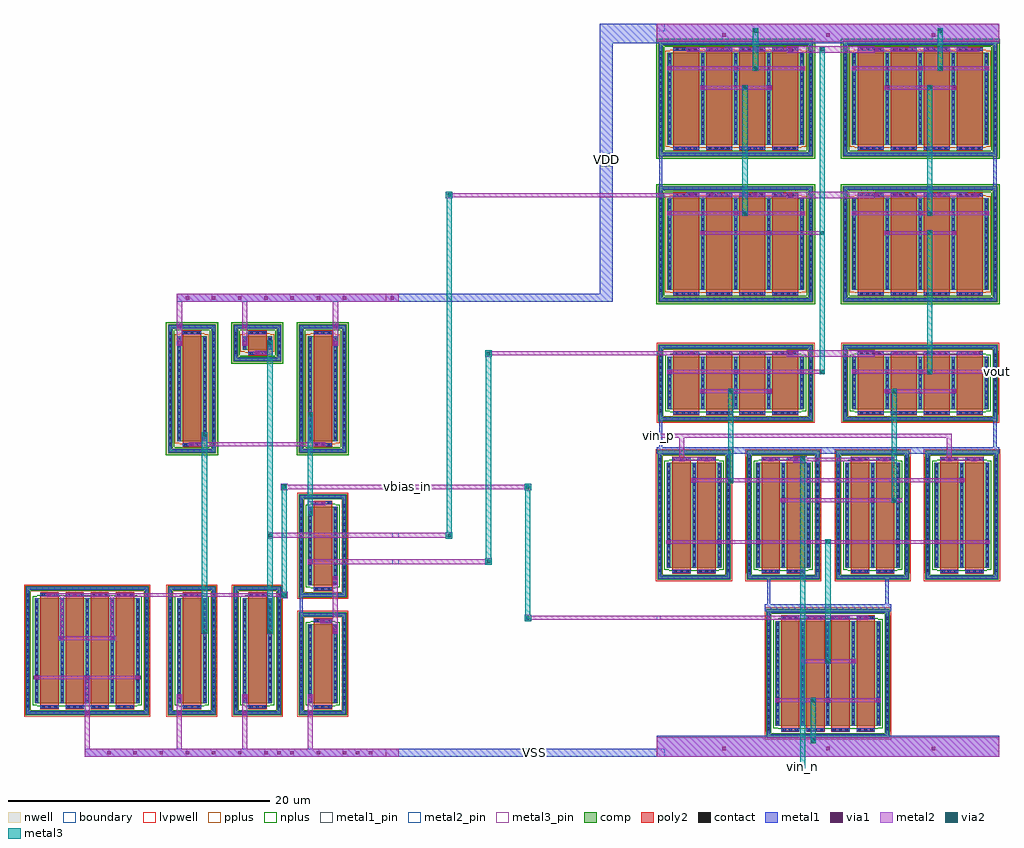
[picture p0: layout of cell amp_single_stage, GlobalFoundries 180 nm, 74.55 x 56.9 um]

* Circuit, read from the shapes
.subckt amp_single_stage VDD VSS vbias_in vin_n vin_p vout
XM1 vbias_in vbias_in VSS VSS nfet_03v3 w=8u l=1.4u m=4
XM2 n1 vbias_in VSS VSS nfet_03v3 w=8u l=1.4u
XM3 amp_bias_1/vbias_1 vbias_in VSS VSS nfet_03v3 w=8u l=1.4u
XM4 n2 n2 VSS VSS nfet_03v3 w=6u l=1.4u
XM5 n2 amp_bias_1/vbias_2 amp_bias_1/vbias_2 VSS nfet_03v3 w=6u l=1.4u
XM6 n3 vin_p n4 VSS nfet_03v3 w=8u l=1.4u m=4
XM7 n3 amp_bias_1/vbias_2 n5 VSS nfet_03v3 w=4u l=2u m=4
XM8 n6 vin_n n4 VSS nfet_03v3 w=8u l=1.4u m=4
XM9 n4 vbias_in VSS VSS nfet_03v3 w=8u l=1.4u m=4
XM10 n6 amp_bias_1/vbias_2 vout VSS nfet_03v3 w=4u l=2u m=4
XM11 n1 n1 VDD VDD pfet_03v3 w=8u l=1.4u
XM12 amp_bias_1/vbias_1 amp_bias_1/vbias_1 VDD VDD pfet_03v3 w=1u l=1.4u
XM13 VDD n1 amp_bias_1/vbias_2 VDD pfet_03v3 w=8u l=1.4u
XM14 n5 amp_bias_1/vbias_1 n7 VDD pfet_03v3 w=7u l=2u m=4
XM15 n7 n5 VDD VDD pfet_03v3 w=7u l=2u m=4
XM16 vout amp_bias_1/vbias_1 n8 VDD pfet_03v3 w=7u l=2u m=4
XM17 n8 n5 VDD VDD pfet_03v3 w=7u l=2u m=4
.ends

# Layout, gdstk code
import gdstk
lib = gdstk.Library(unit=1e-6, precision=1e-09)
def R(c, l, rs):  # rectangles x0, y0, x1, y1
    for r in rs: c.add(gdstk.rectangle(r[:2], r[2:], *l))
def A(c, l, x, y, w, h, nx, ny, dx, dy):  # array of equal rectangles
    R(c, l, [(x+i*dx, y+j*dy, x+i*dx+w, y+j*dy+h) for i in range(nx) for j in range(ny)])
boundary = (0, 0)
nwell = (21, 0)
comp = (22, 0)
poly2 = (30, 0)
pplus = (31, 0)
nplus = (32, 0)
contact = (33, 0)
metal1 = (34, 0)
metal1_pin = (34, 10)
via1 = (35, 0)
metal2 = (36, 0)
metal2_pin = (36, 10)
via2 = (38, 0)
metal3 = (42, 0)
metal3_pin = (42, 10)
lvpwell = (204, 0)

nfet_03v3_ssv5gb = lib.new_cell('nfet_03v3_SSV5GB')
R(nfet_03v3_ssv5gb, boundary, [(-2.61,-4.75,2.61,4.75)])
R(nfet_03v3_ssv5gb, comp, [(-2.79,-4.93,2.79,-4.57), (-2.79,-4.57,-2.43,4.57), (2.43,-4.57,2.79,4.57), (-2.1,-4,2.1,4), (-2.79,4.57,2.79,4.93)])
R(nfet_03v3_ssv5gb, poly2, [(-1.66,-4.46,-0.26,4.46), (0.26,-4.46,1.66,4.46)])
R(nfet_03v3_ssv5gb, pplus, [(-2.81,-4.95,2.81,-4.55), (-2.81,-4.55,-2.4,-4.445), (2.4,-4.55,2.81,-4.445), (-2.82,-4.445,-2.4,4.445), (2.4,-4.445,2.82,4.445), (-2.81,4.445,-2.4,4.55), (2.4,4.445,2.81,4.55), (-2.81,4.55,2.81,4.95)])
R(nfet_03v3_ssv5gb, nplus, [(-1.89,-4.23,1.89,-4.16), (-2.26,-4.16,2.26,4.16), (-1.89,4.16,1.89,4.23)])
A(nfet_03v3_ssv5gb, contact, -1.54, -4.39, 0.22, 0.22, 3, 2, 0.47, 8.56)
A(nfet_03v3_ssv5gb, contact, 0.38, -4.39, 0.22, 0.22, 3, 2, 0.47, 8.56)
A(nfet_03v3_ssv5gb, contact, -2.72, -4.34, 0.22, 0.22, 1, 19, 0, 0.47)
A(nfet_03v3_ssv5gb, contact, 2.5, -4.34, 0.22, 0.22, 1, 19, 0, 0.47)
A(nfet_03v3_ssv5gb, contact, -2.03, -3.87, 0.22, 0.22, 3, 17, 1.92, 0.47)
A(nfet_03v3_ssv5gb, metal1, -2.035, -3.99, 0.23, 7.98, 3, 1, 1.92, 0)
R(nfet_03v3_ssv5gb, metal1, [(-2.725,-4.865,2.725,-4.635), (-2.725,-4.635,-2.495,4.635), (2.495,-4.635,2.725,4.635), (-1.65,-4.395,-0.27,-4.165), (0.27,-4.395,1.65,-4.165), (-1.65,4.165,-0.27,4.395), (0.27,4.165,1.65,4.395), (-2.725,4.635,2.725,4.865)])
R(nfet_03v3_ssv5gb, lvpwell, [(-2.91,-5.05,2.91,5.05)])

nfet_03v3_8eaytp = lib.new_cell('nfet_03v3_8EAYTP')
R(nfet_03v3_8eaytp, boundary, [(-4.53,-4.75,4.53,4.75)])
R(nfet_03v3_8eaytp, comp, [(-4.71,-4.93,4.71,-4.57), (-4.71,-4.57,-4.35,4.57), (4.35,-4.57,4.71,4.57), (-4.02,-4,4.02,4), (-4.71,4.57,4.71,4.93)])
A(nfet_03v3_8eaytp, poly2, -3.58, -4.46, 1.4, 8.92, 4, 1, 1.92, 0)
R(nfet_03v3_8eaytp, pplus, [(-4.73,-4.95,4.73,-4.55), (-4.73,-4.55,-4.32,-4.445), (4.32,-4.55,4.73,-4.445), (-4.74,-4.445,-4.32,4.445), (4.32,-4.445,4.74,4.445), (-4.73,4.445,-4.32,4.55), (4.32,4.445,4.73,4.55), (-4.73,4.55,4.73,4.95)])
R(nfet_03v3_8eaytp, nplus, [(-3.81,-4.23,3.81,-4.16), (-4.18,-4.16,4.18,4.16), (-3.81,4.16,3.81,4.23)])
A(nfet_03v3_8eaytp, contact, -3.46, -4.39, 0.22, 0.22, 3, 2, 0.47, 8.56)
A(nfet_03v3_8eaytp, contact, -1.54, -4.39, 0.22, 0.22, 3, 2, 0.47, 8.56)
A(nfet_03v3_8eaytp, contact, 0.38, -4.39, 0.22, 0.22, 3, 2, 0.47, 8.56)
A(nfet_03v3_8eaytp, contact, 2.3, -4.39, 0.22, 0.22, 3, 2, 0.47, 8.56)
A(nfet_03v3_8eaytp, contact, -4.64, -4.34, 0.22, 0.22, 1, 19, 0, 0.47)
A(nfet_03v3_8eaytp, contact, 4.42, -4.34, 0.22, 0.22, 1, 19, 0, 0.47)
A(nfet_03v3_8eaytp, contact, -3.95, -3.87, 0.22, 0.22, 5, 17, 1.92, 0.47)
A(nfet_03v3_8eaytp, metal1, -3.57, -4.395, 1.38, 0.23, 4, 2, 1.92, 8.56)
A(nfet_03v3_8eaytp, metal1, -3.955, -3.99, 0.23, 7.98, 5, 1, 1.92, 0)
R(nfet_03v3_8eaytp, metal1, [(-4.645,-4.865,4.645,-4.635), (-4.645,-4.635,-4.415,4.635), (4.415,-4.635,4.645,4.635), (-4.645,4.635,4.645,4.865)])
R(nfet_03v3_8eaytp, lvpwell, [(-4.83,-5.05,4.83,5.05)])

pfet_03v3_w5sfvu = lib.new_cell('pfet_03v3_W5SFVU')
R(pfet_03v3_w5sfvu, boundary, [(-5.73,-4.25,5.73,4.25)])
R(pfet_03v3_w5sfvu, nwell, [(-6.03,-4.55,6.03,4.55)])
R(pfet_03v3_w5sfvu, comp, [(-5.91,-4.43,5.91,-4.07), (-5.91,-4.07,-5.55,4.07), (5.55,-4.07,5.91,4.07), (-5.22,-3.5,5.22,3.5), (-5.91,4.07,5.91,4.43)])
A(pfet_03v3_w5sfvu, poly2, -4.78, -3.96, 2, 7.92, 4, 1, 2.52, 0)
R(pfet_03v3_w5sfvu, pplus, [(-5.01,-3.73,5.01,-3.66), (-5.38,-3.66,5.38,3.66), (-5.01,3.66,5.01,3.73)])
R(pfet_03v3_w5sfvu, nplus, [(-6.07,-4.59,6.07,-3.96), (-6.07,-3.96,-5.44,3.96), (5.44,-3.96,6.07,3.96), (-6.07,3.96,6.07,4.59)])
A(pfet_03v3_w5sfvu, contact, -4.595, -3.89, 0.22, 0.22, 4, 2, 0.47, 7.56)
A(pfet_03v3_w5sfvu, contact, -2.075, -3.89, 0.22, 0.22, 4, 2, 0.47, 7.56)
A(pfet_03v3_w5sfvu, contact, 0.445, -3.89, 0.22, 0.22, 4, 2, 0.47, 7.56)
A(pfet_03v3_w5sfvu, contact, 2.965, -3.89, 0.22, 0.22, 4, 2, 0.47, 7.56)
A(pfet_03v3_w5sfvu, contact, -5.84, -3.635, 0.22, 0.22, 1, 16, 0, 0.47)
A(pfet_03v3_w5sfvu, contact, 5.62, -3.635, 0.22, 0.22, 1, 16, 0, 0.47)
A(pfet_03v3_w5sfvu, contact, -5.15, -3.4, 0.22, 0.22, 5, 15, 2.52, 0.47)
A(pfet_03v3_w5sfvu, metal1, -4.77, -3.895, 1.98, 0.23, 4, 2, 2.52, 7.56)
A(pfet_03v3_w5sfvu, metal1, -5.155, -3.49, 0.23, 6.98, 5, 1, 2.52, 0)
R(pfet_03v3_w5sfvu, metal1, [(-5.845,-4.365,5.845,-4.135), (-5.845,-4.135,-5.615,4.135), (5.615,-4.135,5.845,4.135), (-5.845,4.135,5.845,4.365)])

nfet_03v3_d3xtxl = lib.new_cell('nfet_03v3_D3XTXL')
R(nfet_03v3_d3xtxl, boundary, [(-5.73,-2.75,5.73,2.75)])
R(nfet_03v3_d3xtxl, comp, [(-5.91,-2.93,5.91,-2.57), (-5.91,-2.57,-5.55,2.57), (5.55,-2.57,5.91,2.57), (-5.22,-2,5.22,2), (-5.91,2.57,5.91,2.93)])
A(nfet_03v3_d3xtxl, poly2, -4.78, -2.46, 2, 4.92, 4, 1, 2.52, 0)
R(nfet_03v3_d3xtxl, pplus, [(-5.93,-2.95,5.93,-2.55), (-5.93,-2.55,-5.52,-2.445), (5.52,-2.55,5.93,-2.445), (-5.94,-2.445,-5.52,2.445), (5.52,-2.445,5.94,2.445), (-5.93,2.445,-5.52,2.55), (5.52,2.445,5.93,2.55), (-5.93,2.55,5.93,2.95)])
R(nfet_03v3_d3xtxl, nplus, [(-5.01,-2.23,5.01,-2.16), (-5.38,-2.16,5.38,2.16), (-5.01,2.16,5.01,2.23)])
A(nfet_03v3_d3xtxl, contact, -4.595, -2.39, 0.22, 0.22, 4, 2, 0.47, 4.56)
A(nfet_03v3_d3xtxl, contact, -2.075, -2.39, 0.22, 0.22, 4, 2, 0.47, 4.56)
A(nfet_03v3_d3xtxl, contact, 0.445, -2.39, 0.22, 0.22, 4, 2, 0.47, 4.56)
A(nfet_03v3_d3xtxl, contact, 2.965, -2.39, 0.22, 0.22, 4, 2, 0.47, 4.56)
A(nfet_03v3_d3xtxl, contact, -5.84, -2.225, 0.22, 0.22, 1, 10, 0, 0.47)
A(nfet_03v3_d3xtxl, contact, 5.62, -2.225, 0.22, 0.22, 1, 10, 0, 0.47)
A(nfet_03v3_d3xtxl, contact, -5.15, -1.755, 0.22, 0.22, 5, 8, 2.52, 0.47)
A(nfet_03v3_d3xtxl, metal1, -4.77, -2.395, 1.98, 0.23, 4, 2, 2.52, 4.56)
A(nfet_03v3_d3xtxl, metal1, -5.155, -1.99, 0.23, 3.98, 5, 1, 2.52, 0)
R(nfet_03v3_d3xtxl, metal1, [(-5.845,-2.865,5.845,-2.635), (-5.845,-2.635,-5.615,2.635), (5.615,-2.635,5.845,2.635), (-5.845,2.635,5.845,2.865)])
R(nfet_03v3_d3xtxl, lvpwell, [(-6.03,-3.05,6.03,3.05)])

amp_stg_1 = lib.new_cell('amp_stg_1')
A(amp_stg_1, metal1, 58.93, -76.99, 0.32, 0.38, 3, 1, 3.84, 0)
A(amp_stg_1, metal1, 59.86, -70.65, 0.38, 0.29, 4, 1, 1.92, 0)
A(amp_stg_1, metal1, 50.68, -51.89, 0.32, 0.38, 3, 2, 5.06, 12.1)
A(amp_stg_1, metal1, 64.78, -51.89, 0.32, 0.38, 3, 2, 5.06, 12.1)
A(amp_stg_1, metal1, 64.825, -34.34, 0.23, 0.055, 5, 2, 2.52, 6.925)
A(amp_stg_1, metal1, 50.68, -28.69, 0.32, 0.38, 3, 1, 5.06, 0)
A(amp_stg_1, metal1, 64.78, -28.69, 0.32, 0.38, 3, 1, 5.06, 0)
R(amp_stg_1, metal1, [(49.85,-81.1,76.01,-79.5), (60.85,-73.99,61.17,-73.61), (64.69,-73.99,65.01,-73.61), (58.1,-69.98,67.76,-69.45), (58.29,-69.45,58.54,-67.3), (67.32,-69.45,67.57,-67.3), (50.61,-64.89,50.93,-64.51), (54.48,-64.89,54.8,-64.51), (57.43,-64.89,57.75,-64.51), (61.3,-64.89,61.62,-64.51), (64.25,-64.89,64.57,-64.51), (68.12,-64.89,68.44,-64.51), (71.07,-64.89,71.39,-64.51), (74.94,-64.89,75.26,-64.51), (59.36,-61.69,59.68,-61.31), (66.18,-61.69,66.5,-61.31), (52.54,-60.19,52.86,-59.81), (73,-60.19,73.32,-59.81), (51.56,-58.55,51.94,-58.26), (53.47,-58.55,53.85,-58.26), (58.38,-58.55,58.76,-58.26), (60.29,-58.55,60.67,-58.26), (65.2,-58.55,65.58,-58.26), (67.11,-58.55,67.49,-58.26), (72.02,-58.55,72.4,-58.26), (73.93,-58.55,74.31,-58.26), (49.85,-57.98,76.01,-57.45), (50.04,-57.45,50.29,-55.2), (75.57,-57.45,75.82,-55.2), (53.21,-53.39,53.53,-53.01), (58.27,-53.39,58.59,-53.01), (67.31,-53.39,67.63,-53.01), (72.37,-53.39,72.69,-53.01), (52.355,-50.45,52.735,-50.44), (53.84,-50.45,54.22,-50.16), (57.18,-50.45,57.56,-50.16), (59.88,-50.45,60.26,-50.16), (66.455,-50.45,66.835,-50.44), (67.94,-50.45,68.32,-50.16), (71.28,-50.45,71.66,-50.16), (73.98,-50.45,74.36,-50.16), (52.34,-50.44,52.735,-50.16), (66.44,-50.44,66.835,-50.16), (52.34,-50.16,52.72,-50.15), (66.44,-50.16,66.82,-50.15), (53.21,-41.29,53.53,-40.91), (58.27,-41.29,58.59,-40.91), (67.31,-41.29,67.63,-40.91), (72.37,-41.29,72.69,-40.91), (52.355,-38.35,52.735,-38.34), (53.84,-38.35,54.22,-38.06), (57.18,-38.35,57.56,-38.06), (59.88,-38.35,60.26,-38.06), (66.455,-38.35,66.835,-38.34), (67.94,-38.35,68.32,-38.06), (71.28,-38.35,71.66,-38.06), (73.98,-38.35,74.36,-38.06), (52.34,-38.34,52.735,-38.06), (66.44,-38.34,66.835,-38.06), (52.34,-38.06,52.72,-38.05), (66.44,-38.06,66.82,-38.05), (50.04,-37.8,50.29,-35), (75.57,-37.8,75.82,-35.215), (64.135,-35.215,75.825,-34.985), (64.135,-34.985,64.365,-34.7), (75.595,-34.985,75.825,-34.7), (65.21,-34.745,65.265,-34.515), (67.135,-34.745,67.19,-34.515), (67.73,-34.745,67.785,-34.515), (69.655,-34.745,69.71,-34.515), (70.25,-34.745,70.305,-34.515), (72.175,-34.745,72.23,-34.515), (72.77,-34.745,72.825,-34.515), (74.695,-34.745,74.75,-34.515), (53.21,-30.19,53.53,-29.81), (58.27,-30.19,58.59,-29.81), (67.31,-30.19,67.63,-29.81), (72.37,-30.19,72.69,-29.81), (52.355,-27.25,52.735,-27.24), (53.84,-27.25,54.22,-26.96), (57.18,-27.25,57.56,-26.96), (59.88,-27.25,60.26,-26.96), (66.455,-27.25,66.835,-27.24), (67.94,-27.25,68.32,-26.96), (71.28,-27.25,71.66,-26.96), (73.98,-27.25,74.36,-26.96), (52.34,-27.24,52.735,-26.96), (66.44,-27.24,66.835,-26.96), (65.21,-27.185,65.265,-26.955), (67.135,-27.185,67.19,-26.955), (67.73,-27.185,67.785,-26.955), (69.655,-27.185,69.71,-26.955), (70.25,-27.185,70.305,-26.955), (72.175,-27.185,72.23,-26.955), (72.77,-27.185,72.825,-26.955), (74.695,-27.185,74.75,-26.955), (64.135,-27,64.365,-26.715), (75.595,-27,75.825,-26.715), (52.34,-26.96,52.72,-26.95), (66.44,-26.96,66.82,-26.95), (64.135,-26.715,75.825,-26.6), (49.85,-26.6,76.01,-25.1)])
A(amp_stg_1, via1, 58.96, -76.93, 0.26, 0.26, 3, 1, 3.84, 0)
A(amp_stg_1, via1, 59.92, -70.62, 0.26, 0.26, 4, 1, 1.92, 0)
A(amp_stg_1, via1, 50.71, -51.83, 0.26, 0.26, 3, 2, 5.06, 12.1)
A(amp_stg_1, via1, 64.81, -51.83, 0.26, 0.26, 3, 2, 5.06, 12.1)
A(amp_stg_1, via1, 50.71, -28.63, 0.26, 0.26, 3, 1, 5.06, 0)
A(amp_stg_1, via1, 64.81, -28.63, 0.26, 0.26, 3, 1, 5.06, 0)
R(amp_stg_1, via1, [(54.87,-80.6,55.13,-80.34), (62.8,-80.6,63.06,-80.34), (70.87,-80.6,71.13,-80.34), (60.88,-73.93,61.14,-73.67), (64.72,-73.93,64.98,-73.67), (50.64,-64.83,50.9,-64.57), (54.51,-64.83,54.77,-64.57), (57.46,-64.83,57.72,-64.57), (61.33,-64.83,61.59,-64.57), (64.28,-64.83,64.54,-64.57), (68.15,-64.83,68.41,-64.57), (71.1,-64.83,71.36,-64.57), (74.97,-64.83,75.23,-64.57), (59.39,-61.63,59.65,-61.37), (66.21,-61.63,66.47,-61.37), (52.57,-60.13,52.83,-59.87), (73.03,-60.13,73.29,-59.87), (51.62,-58.52,51.88,-58.26), (53.53,-58.52,53.79,-58.26), (58.44,-58.52,58.7,-58.26), (60.35,-58.52,60.61,-58.26), (65.26,-58.52,65.52,-58.26), (67.17,-58.52,67.43,-58.26), (72.08,-58.52,72.34,-58.26), (73.99,-58.52,74.25,-58.26), (53.24,-53.33,53.5,-53.07), (58.3,-53.33,58.56,-53.07), (67.34,-53.33,67.6,-53.07), (72.4,-53.33,72.66,-53.07), (52.415,-50.42,52.675,-50.16), (53.9,-50.42,54.16,-50.16), (57.24,-50.42,57.5,-50.16), (59.94,-50.42,60.2,-50.16), (66.515,-50.42,66.775,-50.16), (68,-50.42,68.26,-50.16), (71.34,-50.42,71.6,-50.16), (74.04,-50.42,74.3,-50.16), (53.24,-41.23,53.5,-40.97), (58.3,-41.23,58.56,-40.97), (67.34,-41.23,67.6,-40.97), (72.4,-41.23,72.66,-40.97), (52.415,-38.32,52.675,-38.06), (53.9,-38.32,54.16,-38.06), (57.24,-38.32,57.5,-38.06), (59.94,-38.32,60.2,-38.06), (66.515,-38.32,66.775,-38.06), (68,-38.32,68.26,-38.06), (71.34,-38.32,71.6,-38.06), (74.04,-38.32,74.3,-38.06), (53.24,-30.13,53.5,-29.87), (58.3,-30.13,58.56,-29.87), (67.34,-30.13,67.6,-29.87), (72.4,-30.13,72.66,-29.87), (52.415,-27.22,52.675,-26.96), (53.9,-27.22,54.16,-26.96), (57.24,-27.22,57.5,-26.96), (59.94,-27.22,60.2,-26.96), (66.515,-27.22,66.775,-26.96), (68,-27.22,68.26,-26.96), (71.34,-27.22,71.6,-26.96), (74.04,-27.22,74.3,-26.96), (54.87,-26.1,55.13,-25.84), (62.8,-26.1,63.06,-25.84), (70.87,-26.1,71.13,-25.84)])
R(amp_stg_1, metal2, [(49.85,-81.1,76.01,-79.6), (58.9,-76.95,66.96,-76.65), (60.82,-73.95,65.04,-73.65), (49.85,-70.65,66,-70.35), (59.86,-70.35,66,-70.3), (50.58,-64.85,75.29,-64.55), (59.33,-61.65,68.6,-61.35), (52.51,-60.15,73.35,-59.85), (60.29,-58.65,61.3,-58.55), (51.56,-58.55,51.94,-58.48), (53.47,-58.55,53.85,-58.48), (58.38,-58.55,58.76,-58.48), (60.29,-58.55,65.58,-58.48), (67.11,-58.55,67.49,-58.48), (72.02,-58.55,72.4,-58.48), (73.93,-58.55,74.31,-58.48), (51.1,-58.48,54.3,-58.18), (57.92,-58.48,67.94,-58.26), (71.56,-58.48,74.76,-58.18), (57.92,-58.26,61.3,-58.18), (64.74,-58.26,67.94,-58.18), (51.56,-58.18,51.94,-56.75), (60.29,-58.18,61.3,-58.16), (72.02,-58.18,72.4,-56.75), (49.85,-56.75,72.4,-56.45), (53.18,-53.35,58.62,-53.05), (67.28,-53.35,72.72,-53.05), (50.65,-51.85,62.7,-51.55), (64.75,-51.85,76.01,-51.55), (59.8,-50.55,66.5,-50.45), (49.85,-50.45,74.5,-50.15), (52.1,-50.15,54.7,-50.1), (55.05,-50.15,56.9,-50.08), (57.2,-50.15,59.5,-50.09), (59.8,-50.15,68.8,-50.1), (69.15,-50.15,71,-50.08), (71.3,-50.15,73.6,-50.09), (73.97,-50.15,74.35,-50.14), (59.8,-50.1,66.5,-50.05), (53.18,-41.25,62.7,-40.95), (67.28,-41.25,72.72,-40.95), (50.65,-39.75,61.15,-39.45), (64.75,-39.75,75.25,-39.45), (59.8,-38.45,66.5,-38.35), (49.85,-38.35,74.5,-38.05), (52.1,-38.05,54.7,-38), (55.05,-38.05,56.9,-37.98), (57.2,-38.05,59.5,-37.99), (59.8,-38.05,68.8,-38), (69.15,-38.05,71,-37.98), (71.3,-38.05,73.6,-37.99), (73.97,-38.05,74.35,-38.04), (59.8,-38,66.5,-37.95), (53.18,-30.15,58.62,-29.85), (67.28,-30.15,72.72,-29.85), (50.65,-28.65,61.15,-28.35), (64.75,-28.65,75.25,-28.35), (59.8,-27.35,66.5,-27.25), (52.2,-27.25,74.5,-27.2), (52.1,-27.2,74.5,-26.95), (52.1,-26.95,54.7,-26.9), (55.05,-26.95,56.9,-26.88), (57.2,-26.95,59.5,-26.89), (59.8,-26.95,68.8,-26.9), (69.15,-26.95,71,-26.88), (71.3,-26.95,73.6,-26.89), (73.97,-26.95,74.35,-26.94), (59.8,-26.9,66.5,-26.85), (49.85,-26.5,76.01,-25.1)])
R(amp_stg_1, metal2_pin, [(49.85,-81.1,50.45,-80.5), (49.85,-70.65,50.15,-70.35), (49.85,-56.75,50.15,-56.45), (75.71,-51.85,76.01,-51.55), (49.85,-50.45,50.15,-50.15), (49.85,-38.35,50.15,-38.05), (49.85,-25.7,50.45,-25.1)])
R(amp_stg_1, via2, [(61.67,-79.99,61.93,-79.73), (61.67,-76.93,61.93,-76.67), (62.8,-73.93,63.06,-73.67), (62.8,-64.83,63.06,-64.57), (67.87,-61.63,68.13,-61.37), (55.37,-60.13,55.63,-59.87), (60.87,-58.54,61.13,-58.28), (55.37,-53.33,55.63,-53.07), (67.87,-53.33,68.13,-53.07), (62.37,-51.83,62.63,-51.57), (70.57,-51.83,70.83,-51.57), (62.37,-41.23,62.63,-40.97), (70.57,-41.23,70.83,-40.97), (56.47,-39.73,56.73,-39.47), (70.57,-39.73,70.83,-39.47), (56.47,-30.13,56.73,-29.87), (70.57,-30.13,70.83,-29.87), (57.27,-28.63,57.53,-28.37), (71.37,-28.63,71.63,-28.37), (62.37,-27.23,62.63,-26.97), (57.27,-25.79,57.53,-25.53), (71.37,-25.79,71.63,-25.53)])
R(amp_stg_1, metal3, [(60.8,-82,61.2,-58.16), (61.6,-80.06,62,-76.6), (62.73,-74.01,63.13,-64.49), (67.8,-61.7,68.2,-53), (55.3,-60.2,55.7,-53), (62.3,-51.9,62.7,-26.9), (70.5,-51.9,70.9,-40.89), (56.4,-39.79,56.8,-29.81), (70.5,-39.79,70.9,-29.81), (57.2,-28.7,57.6,-25.46), (71.3,-28.7,71.7,-25.46)])
R(amp_stg_1, metal3_pin, [(60.8,-82,61.2,-81.7)])
amp_stg_1.add(gdstk.Reference(nfet_03v3_ssv5gb, (52.7,-62.65)))
amp_stg_1.add(gdstk.Reference(nfet_03v3_ssv5gb, (59.52,-62.65)))
amp_stg_1.add(gdstk.Reference(nfet_03v3_8eaytp, (62.93,-74.75)))
amp_stg_1.add(gdstk.Reference(nfet_03v3_ssv5gb, (66.34,-62.65)))
amp_stg_1.add(gdstk.Reference(nfet_03v3_ssv5gb, (73.16,-62.65)))
amp_stg_1.add(gdstk.Reference(pfet_03v3_w5sfvu, (55.88,-41.95)))
amp_stg_1.add(gdstk.Reference(nfet_03v3_d3xtxl, (55.88,-52.55)))
amp_stg_1.add(gdstk.Reference(nfet_03v3_d3xtxl, (69.98,-52.55)))
amp_stg_1.add(gdstk.Reference(pfet_03v3_w5sfvu, (69.98,-41.95)))
amp_stg_1.add(gdstk.Reference(pfet_03v3_w5sfvu, (55.88,-30.85)))
amp_stg_1.add(gdstk.Reference(pfet_03v3_w5sfvu, (69.98,-30.85)))
amp_stg_1.add(gdstk.Label('VDD', (50.15,-25.4), layer=36, texttype=10))
amp_stg_1.add(gdstk.Label('vout', (75.86,-51.7), layer=36, texttype=10))
amp_stg_1.add(gdstk.Label('vbias_1', (50,-38.2), layer=36, texttype=10))
amp_stg_1.add(gdstk.Label('vbias_2', (50,-50.3), layer=36, texttype=10))
amp_stg_1.add(gdstk.Label('vn', (61,-81.85), layer=42, texttype=10))
amp_stg_1.add(gdstk.Label('vp', (50,-56.6), layer=36, texttype=10))
amp_stg_1.add(gdstk.Label('vbias_tail', (50,-70.5), layer=36, texttype=10))
amp_stg_1.add(gdstk.Label('VSS', (50.15,-80.8), layer=36, texttype=10))

pfet_03v3_ty6h95 = lib.new_cell('pfet_03v3_TY6H95')
R(pfet_03v3_ty6h95, boundary, [(-1.65,-1.25,1.65,1.25)])
R(pfet_03v3_ty6h95, nwell, [(-1.95,-1.55,1.95,1.55)])
R(pfet_03v3_ty6h95, comp, [(-1.83,-1.43,1.83,-1.07), (-1.83,-1.07,-1.47,1.07), (1.47,-1.07,1.83,1.07), (-1.14,-0.5,1.14,0.5), (-1.83,1.07,1.83,1.43)])
R(pfet_03v3_ty6h95, poly2, [(-0.7,-0.96,0.7,0.96)])
R(pfet_03v3_ty6h95, pplus, [(-0.93,-0.73,0.93,-0.66), (-1.3,-0.66,1.3,0.66), (-0.93,0.66,0.93,0.73)])
R(pfet_03v3_ty6h95, nplus, [(-1.99,-1.59,1.99,-0.96), (-1.99,-0.96,-1.36,0.96), (1.36,-0.96,1.99,0.96), (-1.99,0.96,1.99,1.59)])
A(pfet_03v3_ty6h95, contact, -0.58, -0.89, 0.22, 0.22, 3, 2, 0.47, 1.56)
A(pfet_03v3_ty6h95, contact, -1.76, -0.815, 0.22, 0.22, 1, 4, 0, 0.47)
A(pfet_03v3_ty6h95, contact, 1.54, -0.815, 0.22, 0.22, 1, 4, 0, 0.47)
R(pfet_03v3_ty6h95, contact, [(-1.07,-0.345,-0.85,-0.125), (0.85,-0.345,1.07,-0.125), (-1.07,0.125,-0.85,0.345), (0.85,0.125,1.07,0.345)])
R(pfet_03v3_ty6h95, metal1, [(-1.765,-1.365,1.765,-1.135), (-1.765,-1.135,-1.535,1.135), (1.535,-1.135,1.765,1.135), (-0.69,-0.895,0.69,-0.665), (-1.075,-0.49,-0.845,0.49), (0.845,-0.49,1.075,0.49), (-0.69,0.665,0.69,0.895), (-1.765,1.135,1.765,1.365)])

nfet_03v3_8f4t6e = lib.new_cell('nfet_03v3_8F4T6E')
R(nfet_03v3_8f4t6e, boundary, [(-1.65,-3.75,1.65,3.75)])
R(nfet_03v3_8f4t6e, comp, [(-1.83,-3.93,1.83,-3.57), (-1.83,-3.57,-1.47,3.57), (1.47,-3.57,1.83,3.57), (-1.14,-3,1.14,3), (-1.83,3.57,1.83,3.93)])
R(nfet_03v3_8f4t6e, poly2, [(-0.7,-3.46,0.7,3.46)])
R(nfet_03v3_8f4t6e, pplus, [(-1.85,-3.95,1.85,-3.55), (-1.85,-3.55,-1.44,-3.445), (1.44,-3.55,1.85,-3.445), (-1.86,-3.445,-1.44,3.445), (1.44,-3.445,1.86,3.445), (-1.85,3.445,-1.44,3.55), (1.44,3.445,1.85,3.55), (-1.85,3.55,1.85,3.95)])
R(nfet_03v3_8f4t6e, nplus, [(-0.93,-3.23,0.93,-3.16), (-1.3,-3.16,1.3,3.16), (-0.93,3.16,0.93,3.23)])
A(nfet_03v3_8f4t6e, contact, -0.58, -3.39, 0.22, 0.22, 3, 2, 0.47, 6.56)
A(nfet_03v3_8f4t6e, contact, -1.76, -3.165, 0.22, 0.22, 1, 14, 0, 0.47)
A(nfet_03v3_8f4t6e, contact, 1.54, -3.165, 0.22, 0.22, 1, 14, 0, 0.47)
A(nfet_03v3_8f4t6e, contact, -1.07, -2.93, 0.22, 0.22, 1, 13, 0, 0.47)
A(nfet_03v3_8f4t6e, contact, 0.85, -2.93, 0.22, 0.22, 1, 13, 0, 0.47)
R(nfet_03v3_8f4t6e, metal1, [(-1.765,-3.865,1.765,-3.635), (-1.765,-3.635,-1.535,3.635), (1.535,-3.635,1.765,3.635), (-0.69,-3.395,0.69,-3.165), (-1.075,-2.99,-0.845,2.99), (0.845,-2.99,1.075,2.99), (-0.69,3.165,0.69,3.395), (-1.765,3.635,1.765,3.865)])
R(nfet_03v3_8f4t6e, lvpwell, [(-1.95,-4.05,1.95,4.05)])

nfet_03v3_9xyv5a = lib.new_cell('nfet_03v3_9XYV5A')
R(nfet_03v3_9xyv5a, boundary, [(-1.65,-4.75,1.65,4.75)])
R(nfet_03v3_9xyv5a, comp, [(-1.83,-4.93,1.83,-4.57), (-1.83,-4.57,-1.47,4.57), (1.47,-4.57,1.83,4.57), (-1.14,-4,1.14,4), (-1.83,4.57,1.83,4.93)])
R(nfet_03v3_9xyv5a, poly2, [(-0.7,-4.46,0.7,4.46)])
R(nfet_03v3_9xyv5a, pplus, [(-1.85,-4.95,1.85,-4.55), (-1.85,-4.55,-1.44,-4.445), (1.44,-4.55,1.85,-4.445), (-1.86,-4.445,-1.44,4.445), (1.44,-4.445,1.86,4.445), (-1.85,4.445,-1.44,4.55), (1.44,4.445,1.85,4.55), (-1.85,4.55,1.85,4.95)])
R(nfet_03v3_9xyv5a, nplus, [(-0.93,-4.23,0.93,-4.16), (-1.3,-4.16,1.3,4.16), (-0.93,4.16,0.93,4.23)])
A(nfet_03v3_9xyv5a, contact, -0.58, -4.39, 0.22, 0.22, 3, 2, 0.47, 8.56)
A(nfet_03v3_9xyv5a, contact, -1.76, -4.34, 0.22, 0.22, 1, 19, 0, 0.47)
A(nfet_03v3_9xyv5a, contact, 1.54, -4.34, 0.22, 0.22, 1, 19, 0, 0.47)
A(nfet_03v3_9xyv5a, contact, -1.07, -3.87, 0.22, 0.22, 1, 17, 0, 0.47)
A(nfet_03v3_9xyv5a, contact, 0.85, -3.87, 0.22, 0.22, 1, 17, 0, 0.47)
R(nfet_03v3_9xyv5a, metal1, [(-1.765,-4.865,1.765,-4.635), (-1.765,-4.635,-1.535,4.635), (1.535,-4.635,1.765,4.635), (-0.69,-4.395,0.69,-4.165), (-1.075,-3.99,-0.845,3.99), (0.845,-3.99,1.075,3.99), (-0.69,4.165,0.69,4.395), (-1.765,4.635,1.765,4.865)])
R(nfet_03v3_9xyv5a, lvpwell, [(-1.95,-5.05,1.95,5.05)])

pfet_03v3_8z4vzp = lib.new_cell('pfet_03v3_8Z4VZP')
R(pfet_03v3_8z4vzp, boundary, [(-1.65,-4.75,1.65,4.75)])
R(pfet_03v3_8z4vzp, nwell, [(-1.95,-5.05,1.95,5.05)])
R(pfet_03v3_8z4vzp, comp, [(-1.83,-4.93,1.83,-4.57), (-1.83,-4.57,-1.47,4.57), (1.47,-4.57,1.83,4.57), (-1.14,-4,1.14,4), (-1.83,4.57,1.83,4.93)])
R(pfet_03v3_8z4vzp, poly2, [(-0.7,-4.46,0.7,4.46)])
R(pfet_03v3_8z4vzp, pplus, [(-0.93,-4.23,0.93,-4.16), (-1.3,-4.16,1.3,4.16), (-0.93,4.16,0.93,4.23)])
R(pfet_03v3_8z4vzp, nplus, [(-1.99,-5.09,1.99,-4.46), (-1.99,-4.46,-1.36,4.46), (1.36,-4.46,1.99,4.46), (-1.99,4.46,1.99,5.09)])
A(pfet_03v3_8z4vzp, contact, -0.58, -4.39, 0.22, 0.22, 3, 2, 0.47, 8.56)
A(pfet_03v3_8z4vzp, contact, -1.76, -4.34, 0.22, 0.22, 1, 19, 0, 0.47)
A(pfet_03v3_8z4vzp, contact, 1.54, -4.34, 0.22, 0.22, 1, 19, 0, 0.47)
A(pfet_03v3_8z4vzp, contact, -1.07, -3.87, 0.22, 0.22, 1, 17, 0, 0.47)
A(pfet_03v3_8z4vzp, contact, 0.85, -3.87, 0.22, 0.22, 1, 17, 0, 0.47)
R(pfet_03v3_8z4vzp, metal1, [(-1.765,-4.865,1.765,-4.635), (-1.765,-4.635,-1.535,4.635), (1.535,-4.635,1.765,4.635), (-0.69,-4.395,0.69,-4.165), (-1.075,-3.99,-0.845,3.99), (0.845,-3.99,1.075,3.99), (-0.69,4.165,0.69,4.395), (-1.765,4.635,1.765,4.865)])

amp_bias = lib.new_cell('amp_bias')
A(amp_bias, metal1, 13.2, -77.95, 0.38, 0.3, 3, 2, 5, 1.3)
A(amp_bias, metal1, 2.33, -75.23, 0.36, 0.36, 3, 1, 3.84, 0)
A(amp_bias, metal1, 3.28, -68.9, 0.38, 0.29, 4, 1, 1.92, 0)
A(amp_bias, metal1, 3.29, -68.61, 0.36, 0.01, 4, 1, 1.92, 0)
R(amp_bias, metal1, [(6.16,-81.1,30.15,-80.5), (6.16,-77.95,6.54,-77.65), (4.25,-72.23,4.61,-71.87), (8.09,-72.23,8.45,-71.87), (15.11,-71.65,15.51,-71.35), (20.11,-71.65,20.51,-71.35), (25.12,-71.65,25.5,-71.35), (24.16,-70.9,24.54,-70.61), (22.585,-70.4,22.815,-68.865), (14.16,-68.9,14.54,-68.61), (19.16,-68.9,19.54,-68.61), (25.12,-67.65,25.5,-67.35), (23.19,-66.35,23.59,-66.05), (23.2,-62.65,23.58,-62.35), (24.16,-61.9,24.54,-61.61), (14.16,-57.39,14.54,-57.1), (24.16,-57.39,24.54,-57.1), (15.12,-56.65,15.5,-56.35), (23.19,-55.15,23.59,-54.85), (19.16,-50.39,19.54,-50.1), (13.2,-49.65,13.58,-49.35), (18.2,-49.65,18.58,-49.35), (20.12,-49.65,20.5,-49.35), (25.12,-49.65,25.5,-49.35), (13.19,-48.36,13.59,-48.06), (18.19,-48.36,18.59,-48.06), (25.11,-48.36,25.51,-48.06), (13.19,-46.35,30.15,-45.75)])
R(amp_bias, metal1_pin, [(29.15,-81.1,30.15,-80.5), (29.15,-46.35,30.15,-45.75)])
A(amp_bias, via1, 7.87, -80.93, 0.26, 0.26, 7, 1, 2, 0)
A(amp_bias, via1, 21.87, -80.93, 0.26, 0.26, 3, 1, 2, 0)
A(amp_bias, via1, 13.26, -77.93, 0.26, 0.26, 3, 2, 5, 1.3)
A(amp_bias, via1, 2.38, -75.18, 0.26, 0.26, 3, 1, 3.84, 0)
A(amp_bias, via1, 15.18, -71.63, 0.26, 0.26, 3, 1, 5, 0)
A(amp_bias, via1, 3.34, -68.87, 0.26, 0.26, 4, 1, 1.92, 0)
A(amp_bias, via1, 13.87, -46.18, 0.26, 0.26, 7, 1, 2, 0)
R(amp_bias, via1, [(20.87,-80.93,21.13,-80.67), (26.87,-80.93,27.13,-80.67), (27.87,-80.93,28.13,-80.67), (6.22,-77.93,6.48,-77.67), (4.3,-72.18,4.56,-71.92), (8.14,-72.18,8.4,-71.92), (24.22,-70.87,24.48,-70.61), (14.22,-68.87,14.48,-68.61), (19.22,-68.87,19.48,-68.61), (25.18,-67.63,25.44,-67.37), (23.26,-66.33,23.52,-66.07), (23.26,-62.63,23.52,-62.37), (24.22,-61.87,24.48,-61.61), (14.22,-57.39,14.48,-57.13), (24.22,-57.39,24.48,-57.13), (15.18,-56.63,15.44,-56.37), (23.26,-55.13,23.52,-54.87), (19.22,-50.39,19.48,-50.13), (13.26,-49.63,13.52,-49.37), (18.26,-49.63,18.52,-49.37), (20.18,-49.63,20.44,-49.37), (25.18,-49.63,25.44,-49.37), (13.26,-48.35,13.52,-48.09), (18.26,-48.35,18.52,-48.09), (25.18,-48.35,25.44,-48.09), (29.52,-46.18,29.78,-45.92)])
A(amp_bias, metal2, 13.2, -80.5, 0.38, 4.15, 3, 1, 5, 0)
R(amp_bias, metal2, [(6.16,-81.1,30.15,-80.5), (6.16,-80.5,6.54,-75.2), (2.25,-75.2,10.45,-74.9), (4.15,-72.2,8.55,-71.9), (4.28,-71.9,4.58,-68.9), (8.12,-71.9,8.42,-68.9), (15.11,-71.75,15.51,-71.25), (20.11,-71.75,20.51,-71.25), (25.12,-71.7,25.5,-70.9), (24.16,-70.9,25.5,-70.6), (25.12,-70.6,25.5,-67.3), (21.15,-69,21.65,-68.9), (3.25,-68.9,21.65,-68.6), (21.15,-68.6,21.65,-68.5), (23.2,-66.39,30.15,-66.01), (20.11,-64.45,20.51,-64.39), (20.11,-64.39,30.15,-64.01), (20.11,-64.01,20.51,-63.95), (23.19,-62.65,23.59,-62.35), (23.2,-62.35,23.58,-61.9), (23.2,-61.9,24.54,-61.6), (21.15,-60.75,21.65,-60.69), (21.15,-60.69,30.15,-60.31), (21.15,-60.31,21.65,-60.25), (14.16,-57.4,24.54,-57.1), (15.12,-57.1,15.5,-56.65), (15.11,-56.65,15.51,-56.35), (23.19,-55.25,23.59,-54.75), (19.16,-50.4,20.5,-50.1), (20.12,-50.1,20.5,-49.65), (13.19,-49.7,13.59,-46.35), (18.19,-49.7,18.59,-46.35), (25.11,-49.7,25.51,-46.35), (20.11,-49.65,20.51,-49.35), (13.19,-46.35,30.15,-45.75)])
R(amp_bias, metal2_pin, [(29.65,-66.39,30.15,-66.01), (29.65,-64.39,30.15,-64.01), (29.65,-60.69,30.15,-60.31)])
R(amp_bias, via2, [(15.18,-71.63,15.44,-71.37), (20.18,-71.63,20.44,-71.37), (21.27,-68.88,21.53,-68.62), (20.18,-64.33,20.44,-64.07), (23.26,-62.63,23.52,-62.37), (21.27,-60.63,21.53,-60.37), (15.18,-56.63,15.44,-56.37), (23.26,-55.13,23.52,-54.87), (20.18,-49.63,20.44,-49.37)])
R(amp_bias, metal3, [(15.11,-71.7,15.51,-56.3), (20.11,-71.7,20.51,-49.3), (21.2,-68.95,21.6,-60.3), (23.19,-62.7,23.59,-54.8)])
amp_bias.add(gdstk.Reference(nfet_03v3_8eaytp, (6.35,-73)))
amp_bias.add(gdstk.Reference(pfet_03v3_ty6h95, (19.35,-49.5)))
amp_bias.add(gdstk.Reference(nfet_03v3_8f4t6e, (24.35,-65)))
amp_bias.add(gdstk.Reference(nfet_03v3_8f4t6e, (24.35,-74)))
amp_bias.add(gdstk.Reference(nfet_03v3_9xyv5a, (19.35,-73)))
amp_bias.add(gdstk.Reference(pfet_03v3_8z4vzp, (24.35,-53)))
amp_bias.add(gdstk.Reference(pfet_03v3_8z4vzp, (14.35,-53)))
amp_bias.add(gdstk.Reference(nfet_03v3_9xyv5a, (14.35,-73)))
amp_bias.add(gdstk.Label('VDD', (29.65,-46.05), layer=34, texttype=10))
amp_bias.add(gdstk.Label('VSS', (29.65,-80.8), layer=34, texttype=10))
amp_bias.add(gdstk.Label('vbias_in', (29.9,-60.5), layer=36, texttype=10))
amp_bias.add(gdstk.Label('vbias_1', (29.9,-64.2), layer=36, texttype=10))
amp_bias.add(gdstk.Label('vbias_2', (29.9,-66.2), layer=36, texttype=10))

amp_single_stage = lib.new_cell('amp_single_stage')
R(amp_single_stage, metal1, [(29.15,-81.1,50.15,-80.5), (29.15,-46.35,46.5,-45.75), (45.5,-45.75,46.5,-26.6), (45.5,-26.6,50.15,-25.1)])
R(amp_single_stage, metal1_pin, [(40,-81.1,41,-80.5), (45.5,-36,46.5,-35)])
R(amp_single_stage, metal2, [(39.75,-70.75,40.25,-70.65), (39.75,-70.65,50.15,-70.35), (39.75,-70.35,40.25,-70.25), (36.75,-66.45,37.25,-66.39), (29.65,-66.39,37.25,-66.01), (36.75,-66.01,37.25,-65.95), (33.75,-64.45,34.25,-64.39), (29.65,-64.39,34.25,-64.01), (33.75,-64.01,34.25,-63.95), (39.75,-60.75,40.25,-60.69), (29.65,-60.69,40.25,-60.31), (39.75,-60.31,40.25,-60.25), (49.85,-56.75,50.15,-56.45), (75.71,-51.85,76.01,-51.55), (36.75,-50.55,37.25,-50.45), (36.75,-50.45,50.15,-50.15), (36.75,-50.15,37.25,-50.05), (33.75,-38.45,34.25,-38.35), (33.75,-38.35,50.15,-38.05), (33.75,-38.05,34.25,-37.95)])
R(amp_single_stage, metal2_pin, [(30.6,-60.69,31,-60.31), (49.85,-56.75,50.15,-56.45), (75.71,-51.85,76.01,-51.55)])
R(amp_single_stage, via2, [(39.87,-70.63,40.13,-70.37), (36.87,-66.33,37.13,-66.07), (33.87,-64.33,34.13,-64.07), (39.87,-60.63,40.13,-60.37), (36.87,-50.43,37.13,-50.17), (33.87,-38.33,34.13,-38.07)])
R(amp_single_stage, metal3, [(60.8,-82,61.2,-81.7), (39.75,-70.75,40.25,-70.25), (39.8,-70.25,40.2,-60.75), (36.75,-66.45,37.25,-65.95), (36.8,-65.95,37.2,-50.55), (33.75,-64.45,34.25,-63.95), (33.8,-63.95,34.2,-38.45), (39.75,-60.75,40.25,-60.25), (36.75,-50.55,37.25,-50.05), (33.75,-38.45,34.25,-37.95)])
R(amp_single_stage, metal3_pin, [(60.8,-82,61.2,-81.7)])
amp_single_stage.add(gdstk.Reference(amp_stg_1, (0,0)))
amp_single_stage.add(gdstk.Reference(amp_bias, (0,0)))
amp_single_stage.add(gdstk.Label('VDD', (46,-35.5), layer=34, texttype=10))
amp_single_stage.add(gdstk.Label('VSS', (40.5,-80.8), layer=34, texttype=10))
amp_single_stage.add(gdstk.Label('vbias_in', (30.8,-60.5), layer=36, texttype=10))
amp_single_stage.add(gdstk.Label('vin_p', (50,-56.6), layer=36, texttype=10))
amp_single_stage.add(gdstk.Label('vin_n', (61,-81.85), layer=42, texttype=10))
amp_single_stage.add(gdstk.Label('vout', (75.86,-51.7), layer=36, texttype=10))

lib.write_gds('amp_single_stage.gds')
